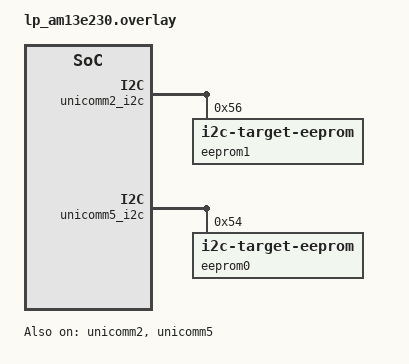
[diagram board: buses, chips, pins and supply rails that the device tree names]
/*
 * Copyright (c) 2026 Texas Instruments Incorporated
 *
 * SPDX-License-Identifier: Apache-2.0
 */

/*
 * I2C loopback wiring for LP-AM13E230:
 *
 * Wire PA10 <-> PA23 (SCL) and PA11 <-> PA22 (SDA).
 * Internal pull-ups are enabled on all four pins.
 */

&pinctrl {
	uc2_sda_pa11_pu: uc2_sda_pa11_pu {
		pinmux = <MSP_PINMUX(12, 4)>;
		input-enable;
		drive-open-drain;
		bias-pull-up;
	};

	uc2_scl_pa10_pu: uc2_scl_pa10_pu {
		pinmux = <MSP_PINMUX(11, 12)>;
		input-enable;
		drive-open-drain;
		bias-pull-up;
	};

	uc5_sda_pa22_pu: uc5_sda_pa22_pu {
		pinmux = <MSP_PINMUX(23, 7)>;
		input-enable;
		drive-open-drain;
		bias-pull-up;
	};

	uc5_scl_pa23_pu: uc5_scl_pa23_pu {
		pinmux = <MSP_PINMUX(24, 7)>;
		input-enable;
		drive-open-drain;
		bias-pull-up;
	};
};

&unicomm2 {
	status = "okay";
};

&unicomm2_i2c {
	pinctrl-0 = <&uc2_sda_pa11_pu &uc2_scl_pa10_pu>;
	pinctrl-names = "default";
	unicomm-advanced-i2c;
	status = "okay";

	eeprom1: eeprom@56 {
		compatible = "zephyr,i2c-target-eeprom";
		reg = <0x56>;
		address-width = <8>;
		size = <256>;
	};
};

&unicomm5 {
	status = "okay";
};

&unicomm5_i2c {
	pinctrl-0 = <&uc5_sda_pa22_pu &uc5_scl_pa23_pu>;
	pinctrl-names = "default";
	unicomm-advanced-i2c;
	status = "okay";

	eeprom0: eeprom@54 {
		compatible = "zephyr,i2c-target-eeprom";
		reg = <0x54>;
		address-width = <8>;
		size = <256>;
	};
};
